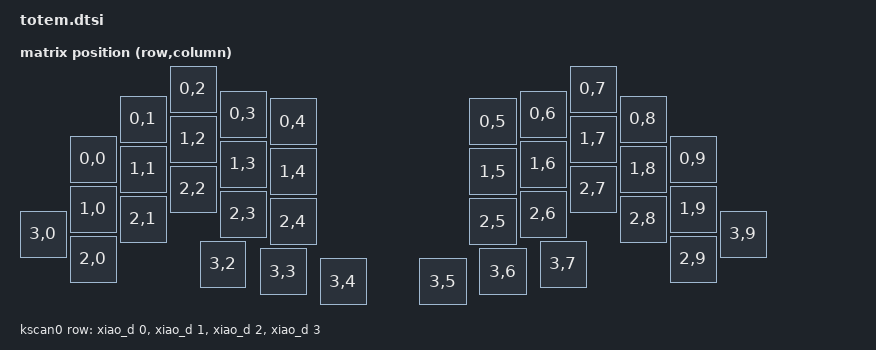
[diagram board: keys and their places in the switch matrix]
/*
 * Copyright (c) 2022 The ZMK Contributors
 *
 * SPDX-License-Identifier: MIT
 */

#include <dt-bindings/zmk/matrix_transform.h>
#include <physical_layouts.dtsi>

/ {
    chosen {
        zmk,kscan = &kscan0;
        zmk,physical-layout = &totem_layout;
    };

    // Required by ZMK Studio. Key positions from the official TOTEM QMK keyboard.json,
    // in the same order as default_transform.
    totem_layout: totem_layout {
        compatible = "zmk,physical-layout";
        display-name = "TOTEM";
        transform = <&default_transform>;
        keys  //                     w   h    x    y rot rx ry
            = <&key_physical_attrs 100 100  100  140   0  0  0>
            , <&key_physical_attrs 100 100  200   60   0  0  0>
            , <&key_physical_attrs 100 100  300    0   0  0  0>
            , <&key_physical_attrs 100 100  400   50   0  0  0>
            , <&key_physical_attrs 100 100  500   65   0  0  0>
            , <&key_physical_attrs 100 100  900   65   0  0  0>
            , <&key_physical_attrs 100 100 1000   50   0  0  0>
            , <&key_physical_attrs 100 100 1100    0   0  0  0>
            , <&key_physical_attrs 100 100 1200   60   0  0  0>
            , <&key_physical_attrs 100 100 1300  140   0  0  0>
            , <&key_physical_attrs 100 100  100  240   0  0  0>
            , <&key_physical_attrs 100 100  200  160   0  0  0>
            , <&key_physical_attrs 100 100  300  100   0  0  0>
            , <&key_physical_attrs 100 100  400  150   0  0  0>
            , <&key_physical_attrs 100 100  500  165   0  0  0>
            , <&key_physical_attrs 100 100  900  165   0  0  0>
            , <&key_physical_attrs 100 100 1000  150   0  0  0>
            , <&key_physical_attrs 100 100 1100  100   0  0  0>
            , <&key_physical_attrs 100 100 1200  160   0  0  0>
            , <&key_physical_attrs 100 100 1300  240   0  0  0>
            , <&key_physical_attrs 100 100    0  290   0  0  0>
            , <&key_physical_attrs 100 100  100  340   0  0  0>
            , <&key_physical_attrs 100 100  200  260   0  0  0>
            , <&key_physical_attrs 100 100  300  200   0  0  0>
            , <&key_physical_attrs 100 100  400  250   0  0  0>
            , <&key_physical_attrs 100 100  500  265   0  0  0>
            , <&key_physical_attrs 100 100  900  265   0  0  0>
            , <&key_physical_attrs 100 100 1000  250   0  0  0>
            , <&key_physical_attrs 100 100 1100  200   0  0  0>
            , <&key_physical_attrs 100 100 1200  260   0  0  0>
            , <&key_physical_attrs 100 100 1300  340   0  0  0>
            , <&key_physical_attrs 100 100 1400  290   0  0  0>
            , <&key_physical_attrs 100 100  360  350   0  0  0>
            , <&key_physical_attrs 100 100  480  365   0  0  0>
            , <&key_physical_attrs 100 100  600  385   0  0  0>
            , <&key_physical_attrs 100 100  800  385   0  0  0>
            , <&key_physical_attrs 100 100  920  365   0  0  0>
            , <&key_physical_attrs 100 100 1040  350   0  0  0>
            ;
    };

    default_transform: keymap_transform_0 {
        compatible = "zmk,matrix-transform";
        columns = <10>;
        rows = <4>;
//             | SW01  | SW02  | SW03  | SW04  | SW05  |  | SW05  | SW04  | SW03  | SW02  | SW01  |
//             | SW06  | SW07  | SW08  | SW09  | SW10  |  | SW10  | SW09  | SW08  | SW07  | SW06  | 
//      | SW16 | SW11  | SW12  | SW13  | SW14  | SW15  |  | SW15  | SW14  | SW13  | SW12  | SW11  | SW16  |
//                             | SW17  | SW18  | SW19  |  | SW19  | SW18  | SW17  | 
        map = <
                RC(0,0) RC(0,1) RC(0,2) RC(0,3) RC(0,4)    RC(0,5) RC(0,6) RC(0,7) RC(0,8) RC(0,9)
                RC(1,0) RC(1,1) RC(1,2) RC(1,3) RC(1,4)    RC(1,5) RC(1,6) RC(1,7) RC(1,8) RC(1,9)
        RC(3,0) RC(2,0) RC(2,1) RC(2,2) RC(2,3) RC(2,4)    RC(2,5) RC(2,6) RC(2,7) RC(2,8) RC(2,9) RC(3,9)
                                RC(3,2) RC(3,3) RC(3,4)    RC(3,5) RC(3,6) RC(3,7)         
        >;
    };


    kscan0: kscan_0 {
        compatible = "zmk,kscan-gpio-matrix";
        label = "KSCAN";
        
        diode-direction = "col2row"; 
        row-gpios
            = <&xiao_d 0 (GPIO_ACTIVE_HIGH | GPIO_PULL_DOWN)>
            , <&xiao_d 1 (GPIO_ACTIVE_HIGH | GPIO_PULL_DOWN)>
            , <&xiao_d 2 (GPIO_ACTIVE_HIGH | GPIO_PULL_DOWN)>
            , <&xiao_d 3 (GPIO_ACTIVE_HIGH | GPIO_PULL_DOWN)>
            ;
    };
};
